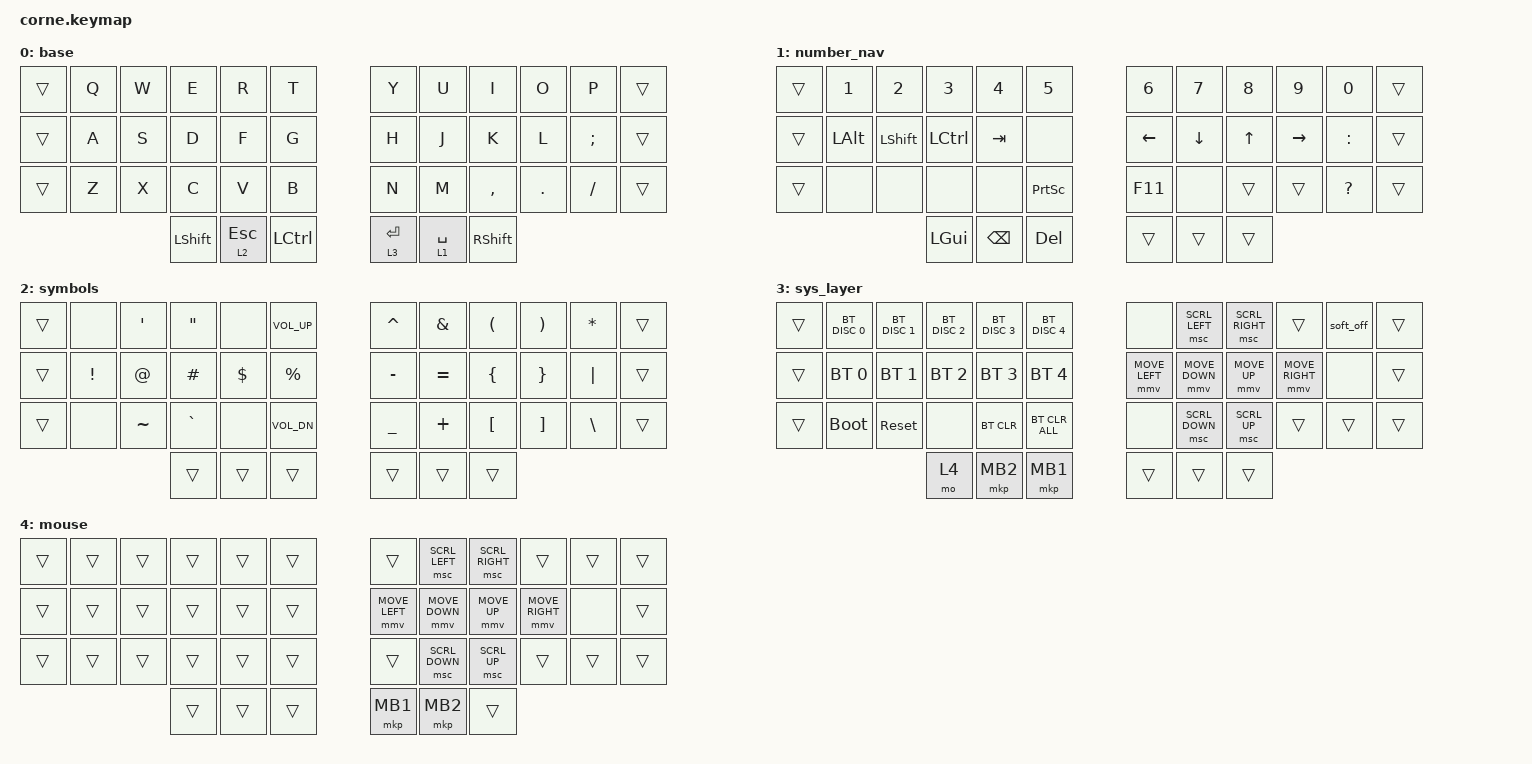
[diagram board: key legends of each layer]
/*
 * Copyright (c) 2020 The ZMK Contributors
 *
 * SPDX-License-Identifier: MIT
 */

#include <behaviors.dtsi>
#include <dt-bindings/zmk/bt.h>
#include <dt-bindings/zmk/keys.h>

#define ZMK_POINTING_DEFAULT_MOVE_VAL 3000  // default: 600
#define ZMK_POINTING_DEFAULT_SCRL_VAL 600    // default: 10
#include <dt-bindings/zmk/pointing.h>

&mt {
    quick-tap-ms = <175>;
    require-prior-idle-ms = <150>;
};

&lt { tapping-term-ms = <200>; };

/ {
    combos {
        compatible = "zmk,combos";

        combo_shift {
            bindings = <&kp LEFT_SHIFT>;
            key-positions = <25 26>;
        };

        combo_rshift {
            bindings = <&kp RIGHT_SHIFT>;
            key-positions = <33 34>;
        };

        combo_colon {
            bindings = <&kp COLON>;
            key-positions = <32 33>;
        };
    };

    conditional_layers { compatible = "zmk,conditional-layers"; };

    keymap {
        compatible = "zmk,keymap";

        base {
            bindings = <
&trans  &kp Q  &kp W  &kp E           &kp R         &kp T               &kp Y        &kp U        &kp I            &kp O    &kp P     &trans
&trans  &kp A  &kp S  &kp D           &kp F         &kp G               &kp H        &kp J        &kp K            &kp L    &kp SEMI  &trans
&trans  &kp Z  &kp X  &kp C           &kp V         &kp B               &kp N        &kp M        &kp COMMA        &kp DOT  &kp FSLH  &trans
                      &kp LEFT_SHIFT  &lt 2 ESCAPE  &kp LEFT_CONTROL    &lt 3 ENTER  &lt 1 SPACE  &kp RIGHT_SHIFT
            >;
        };

        number_nav {
            bindings = <
&trans  &kp N1    &kp N2     &kp N3        &kp N4         &kp N5             &kp NUMBER_6  &kp NUMBER_7  &kp N8  &kp N9     &kp N0        &trans
&trans  &kp LALT  &kp LSHFT  &kp LCTRL     &kp TAB        &none              &kp LEFT      &kp DOWN      &kp UP  &kp RIGHT  &kp COLON     &trans
&trans  &none     &none      &none         &none          &kp PRINTSCREEN    &kp F11       &none         &trans  &trans     &kp QUESTION  &trans
                             &kp LEFT_GUI  &kp BACKSPACE  &kp DELETE         &trans        &trans        &trans
            >;
        };

        symbols {
            bindings = <
&trans  &none            &kp SINGLE_QUOTE  &kp DOUBLE_QUOTES  &none       &kp C_VOL_UP    &kp CARET       &kp AMPERSAND  &kp LEFT_PARENTHESIS  &kp RIGHT_PARENTHESIS  &kp ASTERISK   &trans
&trans  &kp EXCLAMATION  &kp AT_SIGN       &kp HASH           &kp DOLLAR  &kp PERCENT     &kp MINUS       &kp EQUAL      &kp LEFT_BRACE        &kp RIGHT_BRACE        &kp PIPE       &trans
&trans  &none            &kp TILDE         &kp GRAVE          &none       &kp C_VOL_DN    &kp UNDERSCORE  &kp PLUS       &kp LEFT_BRACKET      &kp RIGHT_BRACKET      &kp BACKSLASH  &trans
                                           &trans             &trans      &trans          &trans          &trans         &trans
            >;
        };

        sys_layer {
            bindings = <
&trans  &bt BT_DISC 0  &bt BT_DISC 1  &bt BT_DISC 2  &bt BT_DISC 3  &bt BT_DISC 4     &none           &msc SCRL_LEFT  &msc SCRL_RIGHT  &trans           &soft_off  &trans
&trans  &bt BT_SEL 0   &bt BT_SEL 1   &bt BT_SEL 2   &bt BT_SEL 3   &bt BT_SEL 4      &mmv MOVE_LEFT  &mmv MOVE_DOWN  &mmv MOVE_UP     &mmv MOVE_RIGHT  &none      &trans
&trans  &bootloader    &sys_reset     &none          &bt BT_CLR     &bt BT_CLR_ALL    &none           &msc SCRL_DOWN  &msc SCRL_UP     &trans           &trans     &trans
                                      &mo 4          &mkp MB2       &mkp MB1          &trans          &trans          &trans
            >;
        };

        mouse {
            bindings = <
&trans  &trans  &trans  &trans  &trans  &trans    &trans          &msc SCRL_LEFT  &msc SCRL_RIGHT  &trans           &trans  &trans
&trans  &trans  &trans  &trans  &trans  &trans    &mmv MOVE_LEFT  &mmv MOVE_DOWN  &mmv MOVE_UP     &mmv MOVE_RIGHT  &none   &trans
&trans  &trans  &trans  &trans  &trans  &trans    &trans          &msc SCRL_DOWN  &msc SCRL_UP     &trans           &trans  &trans
                        &trans  &trans  &trans    &mkp MB1        &mkp MB2        &trans
            >;
        };
    };
};
